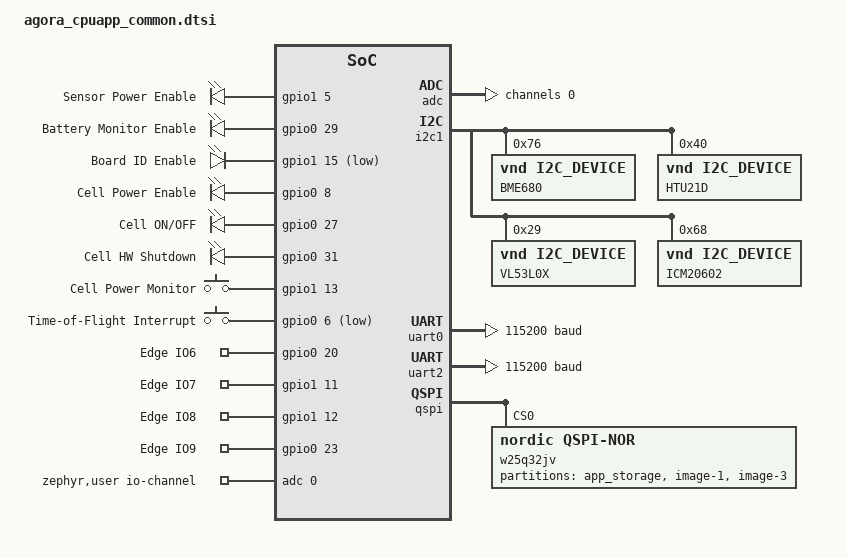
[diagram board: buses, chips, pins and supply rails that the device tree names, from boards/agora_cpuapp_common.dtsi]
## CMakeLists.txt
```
cmake_minimum_required(VERSION 3.20.0)
find_package(Zephyr REQUIRED HINTS $ENV{ZEPHYR_BASE})
project(epSDK_Agora53)

# Define the nested Bosch BSEC static library as an imported target
add_library(bosch_bsec STATIC IMPORTED GLOBAL)

# Tell CMake exactly where to find the libbsec.a file
# (Update this path to point to the Cortex-M4 or M33 version of libbsec.a inside your directory)
set_target_properties(bosch_bsec PROPERTIES
    IMPORTED_LOCATION "${CMAKE_CURRENT_SOURCE_DIR}/epSDK/library/libalgobsec.a"
)

# Define epSDK library as an imported global target
add_library(epSDK_lib STATIC IMPORTED GLOBAL)

# Tell CMake where the actual static .a file resides
set_target_properties(epSDK_lib PROPERTIES
    IMPORTED_LOCATION "${CMAKE_CURRENT_SOURCE_DIR}/epSDK/library/libepSDKZephyr.a"
)

target_include_directories(epSDK_lib INTERFACE 
    "${CMAKE_CURRENT_SOURCE_DIR}/epSDK/include"
)

# Bind library to the Zephyr interface and cryptographic system
# This gives static library visibility into nrf's source hooks and headers.
target_link_libraries(epSDK_lib INTERFACE zephyr_interface)

# Link the BSEC library to your custom library target
target_link_libraries(epSDK_lib INTERFACE bosch_bsec)

# Force the ZEPHYROS macro definition to pass down to anything reading epSDK headers
target_compile_definitions(app PUBLIC ZEPHYROS)

# Add source locations
target_sources(app PRIVATE
    src/main.c
    src/sensor_task.c
    src/cellularTask.c
)

# Add header locations
target_include_directories(app PRIVATE
    src
    epSDK/include
)

# Link static libraries
target_link_libraries(app PUBLIC epSDK_lib)
```

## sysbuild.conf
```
SB_CONFIG_BOOTLOADER_MCUBOOT=y

# Build and flash the BLE HCI controller image to the network core
SB_CONFIG_NETCORE_IPC_RADIO=y
SB_CONFIG_NETCORE_IPC_RADIO_BT_HCI_IPC=y

# Add B0n image (bootloader for netcore)
SB_CONFIG_SECURE_BOOT_NETCORE=y

# # Set up multiple partitions for simultanious app and net core updating
SB_CONFIG_MCUBOOT_UPDATEABLE_IMAGES=2
SB_CONFIG_MCUBOOT_NRF53_MULTI_IMAGE_UPDATE=y

# # Enable support for netcore DFU
SB_CONFIG_NETCORE_APP_UPDATE=y

# # Simultaneous FOTA does not support rollback ("test" feature)
SB_CONFIG_MCUBOOT_MODE_OVERWRITE_ONLY=y

# Build merged hex images for both cores
SB_CONFIG_MERGED_HEX_FILES=y
```

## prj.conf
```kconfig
CONFIG_NCS_SAMPLES_DEFAULTS=y
CONFIG_MAIN_STACK_SIZE=8192
CONFIG_SYSTEM_WORKQUEUE_STACK_SIZE=8192
CONFIG_NORDIC_QSPI_NOR=y
CONFIG_LOG=y
CONFIG_LOG_MODE_MINIMAL=y
CONFIG_I2C=y
CONFIG_CBPRINTF_FP_SUPPORT=y
CONFIG_FPU=y
CONFIG_FP_HARDABI=y
CONFIG_MULTITHREADING=y
CONFIG_SPI=y

#Enable FOTA BLE service in the application
CONFIG_NCS_SAMPLE_MCUMGR_BT_OTA_DFU=y
CONFIG_BT=y
CONFIG_BT_PERIPHERAL=y
CONFIG_BT_DEVICE_NAME="AGORA53"

# Enable uart driver
CONFIG_SERIAL=y

# Enable ADC
CONFIG_ADC=y

# enable console
CONFIG_CONSOLE=y
CONFIG_UART_CONSOLE=y

CONFIG_TICKLESS_KERNEL=y

# Choose either Asynchronous (DMA-driven, highly efficient) or Interrupt-driven UART
CONFIG_UART_INTERRUPT_DRIVEN=y

# Enable Zephyr's AT command parsing pipeline
CONFIG_MODEM_MODULES=y
CONFIG_MODEM_PIPE=y
CONFIG_MODEM_CHAT=y
CONFIG_MODEM_BACKEND_UART=y
CONFIG_MODEM_LOG_LEVEL_DBG=y
CONFIG_MODEM_MODULES_LOG_LEVEL_DBG=y

# Enable the Zephyr generic regulator driver framework
CONFIG_REGULATOR=y

# Use power management
CONFIG_PM=y
CONFIG_PM_DEVICE=y
CONFIG_PM_DEVICE_RUNTIME=y

# Enable the External Crystal (LFXO) selection
CONFIG_CLOCK_CONTROL_NRF_K32SRC_XTAL=y
CONFIG_CLOCK_CONTROL_NRF_K32SRC_RC=n
CONFIG_CLOCK_CONTROL_NRF_K32SRC_RC_CALIBRATION=n
```

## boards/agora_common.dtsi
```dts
/ {
	leds {
		compatible = "gpio-leds";
		led0: led_0 {
			gpios = <&gpio0 26 GPIO_ACTIVE_HIGH>;
			label = "Green LED 0";
		};
		led1: led_1 {
			gpios = <&gpio0 21 GPIO_ACTIVE_HIGH>;
			label = "Red LED 1";
		};
		led2: led_2 {
			gpios = <&gpio1 6 GPIO_ACTIVE_HIGH>;
			label = "Blu LED 2";
		};
	};

	/* These aliases are provided for compatibility with samples */
	aliases {
		led0 = &led0;
		led1 = &led1;
		led2 = &led2;
	};
};
```

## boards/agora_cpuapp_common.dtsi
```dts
#include "agora_common.dtsi"
#include "agora_cpuapp_pinctrl.dtsi"
#include <zephyr/dt-bindings/input/input-event-codes.h>

/ {

	chosen {
		zephyr,console = &uart0;
		zephyr,shell-uart = &uart0;
		zephyr,uart-mcumgr = &uart0;
		nordic,pm-ext-flash = &w25q32jv;
		zephyr,bt-mon-uart = &uart0;
		zephyr,bt-c2h-uart = &uart0;
		zephyr,bt-hci = &bt_hci_ipc0;
		nordic,802154-spinel-ipc = &ipc0;
	};

	brd_gpio_out {
		compatible = "gpio-leds";
		sensor_pwr_en: sensor_pwr_en {
			gpios = <&gpio1 5 GPIO_ACTIVE_HIGH>;
			label = "Sensor Power Enable";
		};

		bat_mon_en: bat_mon_en {
			gpios = <&gpio0 29 GPIO_ACTIVE_HIGH>;
			label = "Battery Monitor Enable";
		};

		board_id_en: board_id_en {
			gpios = <&gpio1 15 GPIO_ACTIVE_LOW>;
			label = "Board ID Enable";
		};

		cell_pwr_en: cell_pwr_en {
			gpios = <&gpio0 8 GPIO_ACTIVE_HIGH>;
			label = "Cell Power Enable";
		};

		cell_on_off: cell_on_off {
			gpios = <&gpio0 27 GPIO_ACTIVE_HIGH>;
			label = "Cell ON/OFF";
		};

		cell_hw_shutdown: cell_hw_shutdown {
			gpios = <&gpio0 31 GPIO_ACTIVE_HIGH>;
			label = "Cell HW Shutdown";
		};
	};

	brd_gpio_in {
		compatible = "gpio-keys";
		cell_pwr_mon: cell_pwr_mon {
			gpios = <&gpio1 13 (GPIO_PULL_DOWN | GPIO_ACTIVE_HIGH)>;
			label = "Cell Power Monitor";
		};

		int_tof: int_tof {
			gpios = <&gpio0 6 GPIO_ACTIVE_LOW >;
			label = "Time-of-Flight Interrupt";
		};

		te_gpio6: te_gpio6 {
			gpios = <&gpio0 20 (GPIO_PULL_DOWN | GPIO_ACTIVE_HIGH) >;
			label = "Edge IO6";
		};

		te_gpio7: te_gpio7 {
			gpios = <&gpio1 11 (GPIO_PULL_DOWN | GPIO_ACTIVE_HIGH) >;
			label = "Edge IO7";
		};

		te_gpio8: te_gpio8 {
			gpios = <&gpio1 12 (GPIO_PULL_DOWN | GPIO_ACTIVE_HIGH) >;
			label = "Edge IO8";
		};

		te_gpio9: te_gpio9 {
			gpios = <&gpio0 23 (GPIO_PULL_DOWN | GPIO_ACTIVE_HIGH) >;
			label = "Edge IO9";
		};
	};

};

&adc {
	status = "okay";
	#address-cells = <1>;
	#size-cells = <0>;

	channel@0 {
		reg = <0>;
		zephyr,gain = "ADC_GAIN_1_6";
		zephyr,reference = "ADC_REF_INTERNAL";
		zephyr,acquisition-time = <ADC_ACQ_TIME_DEFAULT>;
		zephyr,input-positive = <NRF_SAADC_AIN0>;
		zephyr,resolution = <12>;
	};
};

&gpiote {
	status = "okay";
};

&gpio0 {
	status = "okay";
};

&gpio1 {
	status = "okay";

	/*sensor_pwr_en_hog {
		gpio-hog;
		gpios = <5 GPIO_ACTIVE_HIGH>;
		output-high;
	};*/
};

&i2c1 {
	compatible = "nordic,nrf-twim";
	status = "okay";
	pinctrl-0 = <&i2c1_default>;
	pinctrl-1 = <&i2c1_sleep>;
	pinctrl-names = "default", "sleep";

	bme680: bme680@76 {
		compatible = "vnd,i2c_device";
		label = "BME680";
		status = "okay";
		reg = <0x76>;
	};

	htu21d: htu21d@40 {
		compatible = "vnd,i2c_device";
		label = "HTU21D";
		status = "okay";
		reg = <0x40>;
	};

	vl53l0x: vl53l0x@29 {
		compatible = "vnd,i2c_device";
		label = "VL53L0X";
		status = "okay";
		reg = <0x29>;
	};

	icm20602: icm20602@68 {
		compatible = "vnd,i2c_device";
		label = "ICM20602";
		status = "okay";
		reg = <0x68>;
	};
};

&uart0 {
	status = "okay";
	current-speed = <115200>;
	pinctrl-0 = <&uart0_default>;
	pinctrl-1 = <&uart0_sleep>;
	pinctrl-names = "default", "sleep";
};

&uart2 {
	status = "okay";
	current-speed = <115200>;
	pinctrl-0 = <&uart2_default>;
	pinctrl-1 = <&uart2_sleep>;
	pinctrl-names = "default", "sleep";
};

&flash0 {
	partitions {
		compatible = "fixed-partitions";
		#address-cells = <1>;
		#size-cells = <1>;

		boot_partition: partition@0 {
			label = "mcuboot";
			reg = <0x00000000 DT_SIZE_K(48)>;
		};

		/* slot0 / MCUboot primary slot*/
		slot0_partition: partition@c000 {
			label = "image-0";
			reg = <0x0000c000 DT_SIZE_K(900)>;
		};

		/* slot1 / MCUboot secondary is in external QSPI flash (see below) */
	};
};

&qspi {
	status = "okay";
	pinctrl-0 = <&qspi_default>;
	pinctrl-1 = <&qspi_sleep>;
	pinctrl-names = "default", "sleep";

	w25q32jv: w25q32jv@0 {
		compatible = "nordic,qspi-nor";
		reg = <0>;
		writeoc = "pp4o";
		readoc = "read4o";
		sck-frequency = <8000000>;
		jedec-id = [ef 40 16];
		size = <33554432>;
		/* ========================================================= */
		/* ADD LOW POWER PROPERTIES DIRECTLY INSIDE THE CHILD CHIP BLOCK */
		/* ========================================================= */
		has-dpd;              /* Enables Deep Power-Down command handling (0xB9) */
		t-enter-dpd = <3000>; /* Winbond W25Q32JV max duration to enter DPD (3000ns) */
		t-exit-dpd = <3000>;  /* Winbond W25Q32JV max duration to exit DPD (3000ns) */

		partitions {
			compatible = "fixed-partitions";
			#address-cells = <1>;
			#size-cells = <1>;

			app_storage_parition: partition@0 {
				label = "app_storage";
				reg = <0x0 0x2cc000>;
			};

			/* slot1 / MCUboot secondary slot */
			slot1_partition: partition@2cc000 {
				label = "image-1";
				reg = <0x002cc000 DT_SIZE_K(900)>;
			};

			/* Net core secondary slot for multi-image DFU */
			slot3_partition: partition@3c0000 {
				label = "image-3";
				reg = <0x3c0000 0x40000>;
			};
		};
	};
};

/ {
	zephyr,user {
		io-channels = <&adc 0>;
	};
};

/* Include default memory partition configuration file */
#include "agora_cpuapp_partitioning.dtsi"
```

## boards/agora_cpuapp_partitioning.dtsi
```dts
/*
 * Default Flash planning for Application MCU.
 *
 * Zephyr build for nRF5340 with ARM TrustZone-M support, implies building
 * Secure and Non-Secure Zephyr images.
 *
 * Secure image will be placed, by default, in flash0 (or in slot0, if MCUboot
 * is present). Secure image will use sram0 for system memory.
 *
 * Non-Secure image will be placed in slot0_ns, and use sram0_ns for system
 * memory.
 *
 * Note that the Secure image only requires knowledge of the beginning of the
 * Non-Secure image (not its size).
 */

/* Default SRAM planning when building for nRF5340 with ARM TrustZone-M support
 * - Lowest 256 kB SRAM allocated to Secure image (sram0_s)
 * - Middle 192 kB allocated to Non-Secure image (sram0_ns)
 * - Upper 64 kB SRAM allocated as Shared memory (sram0_shared)
 *   (see {board}_shared_sram.dtsi)
 */
/ {
	reserved-memory {
		#address-cells = <1>;
		#size-cells = <1>;
		ranges;

		/* Zephyr image(s) memory */
		sram0_image: image@20000000 {
			reg = <0x20000000 DT_SIZE_K(448)>;
		};

		/* Secure image memory */
		sram0_s: image_s@20000000 {
			reg = <0x20000000 DT_SIZE_K(256)>;
		};

		/* Non-Secure image memory */
		sram0_ns: image_ns@20040000 {
			reg = <0x20040000 DT_SIZE_K(256)>;
		};

		/* Non-Secure image memory */
		sram0_ns_app: image_ns_app@20040000 {

			reg = <0x20040000 DT_SIZE_K(192)>;
		};

		/* Used by MCUboot when SB_CONFIG_MCUBOOT_NRF53_MULTI_IMAGE_UPDATE is enabled, so the
		 * RAM-backed netcore staging buffer doesn't collide with MCUboot's
		 * own RAM usage. See nrf/modules/mcuboot/flash_sim.overlay.
		 */
		sram0_offset_for_dfu: image_offset_for_dfu@20002000 {
			reg = <0x20002000 DT_SIZE_K(440)>;
		};
	};
};
```

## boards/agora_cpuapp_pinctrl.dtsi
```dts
&pinctrl {
	uart0_default: uart0_default {
		group1 {
			psels = <NRF_PSEL(UART_TX, 0, 30)>;
		};
		group2 {
			psels = <NRF_PSEL(UART_RX, 0, 28)>;
			bias-pull-up;
		};
	};

	uart0_sleep: uart0_sleep {
		group1 {
			psels = <NRF_PSEL(UART_TX, 0, 30)>,
				<NRF_PSEL(UART_RX, 0, 28)>;
			low-power-enable;
		};
	};

	uart2_default: uart2_default {
		group1 {
			psels = <NRF_PSEL(UART_TX, 1, 10)>;
		};
		group2 {
			psels = <NRF_PSEL(UART_RX, 0, 22)>;
		};
	};

	uart2_sleep: uart2_sleep {
		group1 {
			psels = <NRF_PSEL(UART_TX, 1, 10)>,
				<NRF_PSEL(UART_RX, 0, 22)>;
			low-power-enable;
		};
	};

	i2c1_default: i2c1_default {
		group1 {
			psels = <NRF_PSEL(TWIM_SDA, 1, 2)>,
				<NRF_PSEL(TWIM_SCL, 1, 3)>;
		};
	};

	i2c1_sleep: i2c1_sleep {
		group1 {
			psels = <NRF_PSEL(TWIM_SDA, 1, 2)>,
				<NRF_PSEL(TWIM_SCL, 1, 3)>;
			low-power-enable;
		};
	};

	qspi_default: qspi_default {
		group1 {
			psels = <NRF_PSEL(QSPI_SCK, 0, 17)>,
				<NRF_PSEL(QSPI_IO0, 0, 13)>,
				<NRF_PSEL(QSPI_IO1, 0, 14)>,
				<NRF_PSEL(QSPI_IO2, 0, 15)>,
				<NRF_PSEL(QSPI_IO3, 0, 16)>,
				<NRF_PSEL(QSPI_CSN, 0, 18)>;
			//nordic,drive-mode = <NRF_DRIVE_H0H1>;
		};
	};

	qspi_sleep: qspi_sleep {
		group1 {
			psels = <NRF_PSEL(QSPI_SCK, 0, 17)>,
				<NRF_PSEL(QSPI_IO0, 0, 13)>,
				<NRF_PSEL(QSPI_IO1, 0, 14)>,
				<NRF_PSEL(QSPI_IO2, 0, 15)>,
				<NRF_PSEL(QSPI_IO3, 0, 16)>;
			low-power-enable;
		};
		group2 {
			psels = <NRF_PSEL(QSPI_CSN, 0, 18)>;
			bias-pull-up;
		};
	};
};
```

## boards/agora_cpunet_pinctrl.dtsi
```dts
&pinctrl {
	uart0_default: uart0_default {
		group1 {
			psels = <NRF_PSEL(UART_TX, 0, 30)>;
		};
		group2 {
			psels = <NRF_PSEL(UART_RX, 0, 28)>;
			bias-pull-up;
		};
	};

	uart0_sleep: uart0_sleep {
		group1 {
			psels = <NRF_PSEL(UART_TX, 0, 30)>,
				<NRF_PSEL(UART_RX, 0, 28)>;
			low-power-enable;
		};
	};

	i2c1_default: i2c1_default {
		group1 {
			psels = <NRF_PSEL(TWIM_SDA, 1, 2)>,
				<NRF_PSEL(TWIM_SCL, 1, 3)>;
		};
	};

	i2c1_sleep: i2c1_sleep {
		group1 {
			psels = <NRF_PSEL(TWIM_SDA, 1, 2)>,
				<NRF_PSEL(TWIM_SCL, 1, 3)>;
			low-power-enable;
		};
	};

	spi4_default: spi4_default {
		group1 {
			psels = <NRF_PSEL(SPIM_SCK, 1, 0)>,
				<NRF_PSEL(SPIM_MISO, 0, 10)>,
				<NRF_PSEL(SPIM_MOSI, 0, 9)>;
		};
	};

	spi4_sleep: spi4_sleep {
		group1 {
			psels = <NRF_PSEL(SPIM_SCK, 1, 0)>,
				<NRF_PSEL(SPIM_MISO, 0, 10)>,
				<NRF_PSEL(SPIM_MOSI, 0, 9)>;
			low-power-enable;
		};
	};
};
```

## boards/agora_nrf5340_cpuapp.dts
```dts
/dts-v1/;
#include <arm/nordic/nrf5340_cpuapp_qkaa.dtsi>
#include "agora_cpuapp_common.dtsi"

/ {
	model = "Agora (cpuapp)";
	compatible = "ep,agora-cpuapp";

	chosen {
		zephyr,flash = &flash0;
		zephyr,code-partition = &slot0_partition;
		zephyr,sram = &sram0_image;
		zephyr,sram-secure-partition = &sram0_s;
		zephyr,sram-non-secure-partition = &sram0_ns;
	};
};

#include "agora_shared_sram.dtsi"
```

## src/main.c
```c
/****************************************************************************                                                                     *
 * Copyright (c) 2026 Embedded Planet, Inc.                                 *
 * SPDX-License-Identifier: Apache-2.0                                      *
 *                                                                          *
 * Licensed under the Apache License, Version 2.0 (the "License");          *
 * you may not use this file except in compliance with the License.         *
 * You may obtain a copy of the License at                                  *
 *                                                                          *
 *     http://www.apache.org/licenses/LICENSE-2.0                           *
 *                                                                          *
 * Unless required by applicable law or agreed to in writing, software      *
 * distributed under the License is distributed on an "AS IS" BASIS,        *
 * WITHOUT WARRANTIES OR CONDITIONS OF ANY KIND, either express or implied. *
 * See the License for the specific language governing permissions and      *
 * limitations under the License.                                           *
 ****************************************************************************/
/**
 * @file    main.c
 * @version See Version in main.h VER defines
 * @author  Embedded Planet, Inc.
 * @author  golobmichael, danmaher
 * @date    20 AUG 2026
 * 
 * @brief Agora53 Standalone main header
 * 
 * Built for use with the nRF Connect SDK
 *
 * This source file is private and confidential.
 * Unauthorized copying of this file is strictly prohibited.
 * 
 * Version 1.0 - 20AUG2026  Initial
 */

//Zephyr includes
#include <zephyr/kernel.h>

#include "main.h"
#include "cellularTask.h"
#include "agora53_bsp.h"
#include "ble_peripheral.h"
#include "led_helper.h"

#define STACK_SIZE 4096
#define THREAD0_PRIORITY 7
#define ADV_TIMEOUT     60      // 60s

// Define buffer and message queue variables for cell
char cell_queue_buffer[CELL_QUEUE_SIZE * sizeof(cell_queue_msg)];
K_MSGQ_DEFINE(xCellQueue, sizeof(cell_queue_msg), CELL_QUEUE_SIZE, 4);

/* Forward declaration of the thread function */
void cellular_task(void);
void LEDTask(void);

/* Define and initialize the thread statically */
K_THREAD_DEFINE(thread0_id, STACK_SIZE, cellular_task, NULL, NULL, NULL, THREAD0_PRIORITY, 0, SYS_FOREVER_MS);
K_THREAD_DEFINE(thread1_id, STACK_SIZE, sensor_task, NULL, NULL, NULL, THREAD0_PRIORITY, 0, SYS_FOREVER_MS);

int main(void)
{
    if(agora53_bsp_init() < 0){
        return -1;
    }

    miscInitialization();

    ble_periph_init();
    ble_periph_adv_start(ADV_TIMEOUT);

    /* Start sensor sample task */
    k_thread_start(thread1_id);
    /* Start Cell Task */
    k_thread_start(thread0_id);
}
```

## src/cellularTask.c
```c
/**
 * Created on: Sept 1, 2022
 * Created by: golobmichael
 * 
 * Copyright (c) Embedded Planet, Inc - All rights reserved
 *
 * This source file is private and confidential.
 * Unauthorized copying of this file is strictly prohibited.
 * 
 * Version 1.0 - 01SEPT22  Initial, golobmichael
 */

#include <stdint.h>
#include <stdbool.h>
#include <inttypes.h>
#include <string.h>
#include <stdlib.h>

#include <zephyr/kernel.h>
#include <zephyr/logging/log.h>
#include "main.h"
#include "cellularTask.h"
#include "led_helper.h"

// Enable logging for app task
LOG_MODULE_REGISTER(CELL_TASK, LOG_LEVEL_INF);

#define LED_THREAD_PRIORITY     7
#define LED_THREAD_STACK_SIZE   1024
K_THREAD_DEFINE(led_task_id, LED_THREAD_STACK_SIZE, LEDTask, NULL, NULL, NULL, LED_THREAD_PRIORITY, 0, SYS_FOREVER_MS);

cellParam cellParams;
CellRegStatus_t regStatusFlag;
CellStatus_t cellStatus;

/*-----------------------------------------------------------*/
void cellular_task(void)
{
    #define REG_TIMEOUT      900    // 900s
    bool retCellular = false;
    static bool first_run = true;
    uint32_t lastGnssTime = 0, lastGtpTime = 0, sasTokenTimer = 0, currentTime = 0;
    bool fotaAvailable = false;
    int32_t httpsRespSize = 0;
    uint8_t *httpsRespBody;

    /* Start and suspend LED task */
    led_init();
    k_thread_start(led_task_id);
    k_thread_suspend(led_task_id);
    /* pause LEDs */
    led_pause();

    while(1){
        uint8_t satellites = 0;
        static uint8_t gnssFix = 0;
        cellStatus = CellGeneralFail;
        
        /* Wait for item in queue */
        if(newDataAdded == true){
            // Enable LEDs
            led_resume();
            /* Flash LED */
            k_thread_resume(led_task_id);

            /* Clear flag */
            newDataAdded = false;

            /* Initialize cell library and startup modem hardware, don't need to call on first run */
            if( cellInit() != 0 ){
                LOG_ERR("Failed to initialize cell, delay and retry\r\n");
                closeCell(MODEM_SLEEP_STATE);
                k_sleep(K_MSEC(5000));
                continue;
            }

            /* Get current time */
            currentTime = k_uptime_get();

            /* Is it time to attain GNSS fix, will run on second pass */
            if(TELIT_GNSS_STATUS == true && (currentTime - lastGnssTime) > GNSS_ATTEMPT_INTERVAL){
                if( setGNSS(true) != 0 ){
                    LOG_ERR("Failed to enable GNSS, delay and retry\r\n");
                    closeCell(MODEM_SLEEP_STATE);
                    k_sleep(K_MSEC(5000));
                    continue;
                }

                /* Check registration status, advance when registered or timeout */
                for(uint16_t i = 0; i < GNSS_TIMEOUT; i++){
                    gnssFix = statusGNSS(&satellites);
                    if(gnssFix >= 2){
                        /* App callback to add GNSS fix if desired */
                        addGnssQueueMsg(true);
                        break;
                    }
                    /* Not enough satellites aquired after a specified amount of time, break loop */
                    if(LOW_SAT_STATUS == true && satellites < LOW_SAT_NUMBER && i == LOW_SAT_TIMEOUT){
                        LOG_WRN( ">>>  GNSS aquire satellite timeout  <<<\r\n" );
                        break;
                    }
                    k_sleep(K_MSEC(10000));
                }

                /* If fix failed, then add to queue*/
                if(gnssFix < 2){
                    /* App callback to add GNSS fix if desired */
                    addGnssQueueMsg(false);
                }

                /* Return back to cell comms */
                setGNSS(false);

                /* Update last gnss time */
                lastGnssTime = k_uptime_get();
            }

            /* Clear flag */
            first_run = false;

            /* Enable eDRX and register cell */
            if( registerCellular(CELLULAR_CARRIER, REG_TIMEOUT) != 0 ){
                LOG_ERR("Failed to start cell registration process, delay and retry\r\n");
                closeCell(MODEM_SLEEP_STATE);
                k_sleep(K_MSEC(5000));
                continue;
            }

            /* Check registration status */
            regStatusFlag = regStatus();
            if(regStatusFlag != REG_STATUS_REGISTERED_HOME && regStatusFlag != REG_STATUS_ROAMING_REGISTERED){
                /* Wait 10s and check again */
                k_sleep(K_MSEC(10000));
                regStatusFlag = regStatus();
                if(regStatusFlag != REG_STATUS_REGISTERED_HOME && regStatusFlag != REG_STATUS_ROAMING_REGISTERED){
                    LOG_ERR("Failed to register to cell network, delay and retry\r\n");
                    cellStatus = CellRegisterFail;
                    closeCell(MODEM_SLEEP_STATE);
                    k_sleep(K_MSEC(5000));
                    continue;
                }
            }

            /* Is it time to attain GTP fix, will run on second pass */
            if(GTP_STATUS == true && (currentTime - lastGtpTime) > GNSS_ATTEMPT_INTERVAL){
                if(connectCell(IOT_BROKER_ADDRESS_POST, GTP_STATUS) != cellStatus){
                    LOG_ERR("Failed to connect to cell socket, delay and retry\r\n");
                    closeCell(MODEM_SLEEP_STATE);
                    k_sleep(K_MSEC(5000));
                    continue;
                }
                
                /* Update last gnss time */
                lastGtpTime = k_uptime_get();
            }
            else{
                if(connectCell(IOT_BROKER_ADDRESS_POST, false) != cellStatus){
                    LOG_ERR("Failed to connect to cell socket, delay and retry\r\n");
                    closeCell(MODEM_SLEEP_STATE);
                    k_sleep(K_MSEC(5000));
                    continue;
                }
            }
            
            
            if(strstr( IOT_BROKER_ADDRESS_GET, "http://" ) != NULL){
                /* Send HTTP Post (without TLS) */
                sendHttpMsg(METHOD_GET, IOT_BROKER_ADDRESS_GET, SERVER_ADDR_PREFIX_GET, SERVER_ADDR_SUFFIX_ATTR, SERVER_PATH_ACCESS_TOKEN_GET_ENABLED, &fotaAvailable);
            }

            /* Check registration status */
            regStatusFlag = regStatus();
            if(regStatusFlag != REG_STATUS_REGISTERED_HOME && regStatusFlag != REG_STATUS_ROAMING_REGISTERED){
                /* Wait 10s and check again */
                k_sleep(K_MSEC(10000));
                regStatusFlag = regStatus();
                if(regStatusFlag != REG_STATUS_REGISTERED_HOME && regStatusFlag != REG_STATUS_ROAMING_REGISTERED){
                    LOG_ERR("Failed to register to cell network, delay and retry\r\n");
                    cellStatus = CellRegisterFail;
                    closeCell(MODEM_SLEEP_STATE);
                    k_sleep(K_MSEC(5000));
                    continue;
                }
            }

            /* Clear flag again in case new data has arrived */
            newDataAdded = false;

            if(k_msgq_num_used_get(&xCellQueue) != 0){
                if(strstr( IOT_BROKER_ADDRESS_POST, "http://" ) != NULL){
                    /* Send HTTP Post (without TLS) */
                    sendHttpMsg(METHOD_POST, IOT_BROKER_ADDRESS_POST, SERVER_ADDR_PREFIX_POST, SERVER_ADDR_SUFFIX_TELE, SERVER_PATH_ACCESS_TOKEN_POST_ENABLED, NULL);
                }
            }

            closeCell(MODEM_SLEEP_STATE);

            k_thread_suspend(led_task_id);
            // Enable debug out for LED
            led_pause();
        }
        /* Delay between checking queue*/
        k_sleep(K_MSEC(5000));
    }
}

/*-----------------------------------------------------------*/
void LEDTask( void )
{
    for(;;)
    {
        if(regStatusFlag == REG_STATUS_REGISTERED_HOME || regStatusFlag == REG_STATUS_ROAMING_REGISTERED)
        {
            led_mode(LED_SINGLE_BLINK, true, 1);
        }
        else
        {
            led_mode(LED_TRIPLE_BLINK, true, 1);
        }

        k_sleep(K_MSEC(5000));
    }
}
```

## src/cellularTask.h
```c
/****************************************************************************                                                                     *
 * Copyright (c) 2026 Embedded Planet, Inc.                                 *
 * SPDX-License-Identifier: Apache-2.0                                      *
 *                                                                          *
 * Licensed under the Apache License, Version 2.0 (the "License");          *
 * you may not use this file except in compliance with the License.         *
 * You may obtain a copy of the License at                                  *
 *                                                                          *
 *     http://www.apache.org/licenses/LICENSE-2.0                           *
 *                                                                          *
 * Unless required by applicable law or agreed to in writing, software      *
 * distributed under the License is distributed on an "AS IS" BASIS,        *
 * WITHOUT WARRANTIES OR CONDITIONS OF ANY KIND, either express or implied. *
 * See the License for the specific language governing permissions and      *
 * limitations under the License.                                           *
 ****************************************************************************/

/**
 * @file    cell_helper.h
 * @version 1.0.0
 * @author  Embedded Planet, Inc.
 * @author  golobmichael
 * @date    01 SEPT 2022
 * 
 * @brief Header for cellular library APIs and configurations.
 * versions:
 *  1.0.0 - 28SEPT2023  Initial - golobmichael
 * 
 */

/**
 * @file cell_helper.h
 */

#ifndef __CELL_HELPER_H__
#define __CELL_HELPER_H__

/* *INDENT-OFF* */
#ifdef __cplusplus
    extern "C" {
#endif
/* *INDENT-ON* */

/* Standard includes. */
#include <stdint.h>

/**
 * @brief Internal EP operation
 * 
 */
#define CELL_SKIP_SECURITY_CHECK

/**
 * @brief Define for size of descriptor table
 * 
 */
#define otapalDESCRIPTOR_SIZE           sizeof( ImageDescriptor_t )     /* The size of the firmware descriptor */

/**
 * @brief MQTT Max Topic Length.
 * 
 */
#define MQTT_MAX_TOPIC_LENGTH    250U

/**
 * @brief Maximum length of the data packet allowed in a cell queue message
 *  EPCP_SYSTEM_SIZE        = 19,
    EPCP_SYSTEM_V2_SIZE     = 9,
    EPCP_CELL_SIZE          = 10,
    EPCP_GNSS_SIZE          = 7,
    EPCP_SI7021_SIZE        = 6,
    EPCP_BME680_SIZE        = 25,
    EPCP_ICM20602_SIZE      = 14,
    EPCP_LSM9DS1_SIZE       = 21,
    EPCP_VL53L0X_SIZE       = 6,
    TOTOAL                  = 130, with 13 bytes overhead
 */
#define CELLULAR_QUEUE_MSG_MAX_LENGTH   130U

/**
 * @brief Cell carrier defines
 * 
 */
#define ATT     0
#define VERIZON 1
#define ROW     2
#define AU      3
#define AUTO    0xFF // ME310G1 and ME910G1 support auto detect

/**
 * @brief Cell technology defines
 * 
 */
#define CELLULAR_IOT_CATM1      0   // CAT-M1 Only
#define CELLULAR_IOT_NBIOT      1   // NB-IoT only
#define CELLULAR_IOT_CATM1_PREF 2   // CAT-M1 preferred over NB-IoT
#define CELLULAR_IOT_NBIOT_PREF 3   // NB-IOT preferred over Cat-M1
#define CELLULAR_IOT_NBIOT_NTN  4   // NB-IoT NTN

/**
 * @brief FOTA Checksum defines
 * 
 */
#define SUM_ALL         0
#define CRC32_CHKSM     1

/**
 * @brief Size of buffer that holds downlink (shared) attribute string
 */
#define HTTP_ATTR_BUFF_SIZE         1024

/**
 * @brief Define number of HTTP Attributes needed
 * 
 */
#define num_HTTP_ATTRIBUTES             5

/**
 * @brief Max attribute length for cell http get
 * 
 */
#define MAX_ATTR_VALUE_LENGTH     10

/**
 * @brief IMEI max size.<br>
 *
 */
#define CELLULAR_IMEI_MAX_SIZE    15U

/**
 * @brief Integrate circuit card identity max size.<br>
 * 
 */
#define CELLULAR_ICCID_MAX_SIZE    20U

/**
 * @brief Threshold for transmission interval to power off cell versus just shutdown socket
 * 
 */
#define CELL_PWR_OFF_THRESH     300U    // 300s

/**
 * @brief Max GNSS Direction length.<br>
 *
 */
#define MAX_GNSS_LAT_LENGTH    10U

/**
 * @brief Max GNSS Direction length.<br>
 *
 */
#define MAX_GNSS_LONG_LENGTH    11U

/**
 * @brief Access point name max size.<br>
 *
 */
#define CELLULAR_APN_MAX_SIZE    ( 64U )

/**
 * @brief Payload format.<br>
 *
 */
#define PLAIN_TEXT_PAYLOAD      0 //Compact payload
#define JSON_PAYLOAD            1 //Json format payload

/**
 * @brief Endpoint address max size
 * 
 */
#define ENDPOINT_ADDR_MAX_SIZE ( 75U )

/**
 * @brief HTTP/CoAP Method defines
 * 
 */
 #define METHOD_POST    0
 #define METHOD_GET     1

/**
 * @brief Cellular carrier, ATT, Verizon, AU, or Auto. Only need for Agora 1.0
 * 
 */
#define CELLULAR_CARRIER    AUTO

/**
 * @brief TLS Security defined
 * 
 */
#define TLS_ANONYMOUS   0
#define TLS_SAS_TOKENS  1
#define TLS_X509        2

/**
 * @brief Cell shutdown state between data passes
 * 
 */
#define SOCKET_OPEN         0
#define MODEM_ON            1
#define MODEM_OFF           2

/**
 * @brief Protocol defined needed for cell library
 * 
 */
#define PROTOCOL_HTTPS                             0
#define PROTOCOL_MQTTS                             1

/**
 * @ingroup cellular_datatypes_paramstructs
 * @brief SIM Card information.
 */
typedef struct CellularSimCardInfo
{
    char iccid[ CELLULAR_ICCID_MAX_SIZE + 1 ]; /**< Integrated Circuit Card Identifier aka SIM Card Number. */
    char imei[ CELLULAR_IMEI_MAX_SIZE + 1 ];   /**< International Mobile Subscriber Identity. */
} CellularSimCardInfo_t;

/**
 * @ingroup cellular_datatypes_paramstructs
 * @brief Represents signal information.
 */
typedef struct CellularSignalInfo
{
    int16_t rssi; /**< Received Signal Strength Indicator (RSSI) in dBm.*/
    int16_t rsrp; /**< LTE Reference Signal Received Power (RSRP) in dBm. */
    int16_t rsrq; /**< LTE Reference Signal Received Quality (RSRQ) in dB. */
    int16_t sinr; /**< LTE Signal to Interference-Noise Ratio in dB. */
    int16_t ber;  /**< Bit Error Rate (BER) in 0.01%. */
    uint8_t bars; /**< A number between 0 to 5 (both inclusive) indicating signal strength. */
} CellularSignalInfo_t;


/**
 * @ingroup cellular_datatypes_enums
 * @brief Represents PDN context type.
 */
typedef enum CellularPdnContextType
{
    CELLULAR_PDN_CONTEXT_IPV4 = 1,   /**< IPV4 PDN CONTEXT. */
    CELLULAR_PDN_CONTEXT_IPV6 = 2,   /**< IPV6 PDN CONTEXT. */
    CELLULAR_PDN_CONTEXT_IPV4V6 = 3, /**< IPV4V6 PDN CONTEXT. */
    CELLULAR_PDN_CONTEXT_TYPE_MAX    /**< The max number of supported PDN CONTEXT. */
} CellularPdnContextType_t;

/**
 * @ingroup cellular_datatypes_enums
 * @brief Represents PDN authentication type.
 */
typedef enum CellularPdnAuthType
{
    CELLULAR_PDN_AUTH_NONE = 0,   /**< No authentication. */
    CELLULAR_PDN_AUTH_PAP,        /**< Password Authentication Protocol (PAP). */
    CELLULAR_PDN_AUTH_CHAP,       /**< Challenge Handshake Authentication Protocol (CHAP). */
    CELLULAR_PDN_AUTH_PAP_OR_CHAP /**< PAP or CHAP. */
} CellularPdnAuthType_t;

/**
 * @brief FOTA variables.
 */
extern uint32_t otapalBlockSize;
extern uint8_t otapalChecksumMethod;
extern uint32_t otapalFlashStart;
extern uint32_t otapalDescTblStart;
extern uint32_t otapalBankSize;
extern char appVersion[9];

/**
 * @ingroup cell_enum_types
 * @brief The cell library return status.
 */
typedef enum CellStatus
{
    CellGeneralFail = 0,    /*!< @brief General Failure. */
    CellSuccess,            /*!< @brief Success, no errors. */
    CellInitFail,           /*!< @brief Initialization Library Failed, or modem Init failed. */
    CellSimFail,            /*!< @brief SIM failure. */
    CellRegisterFail,       /*!< @brief Failure to register to network during initialization. */
    CellSocketFail,         /*!< @brief Failed to configure and connect to socket. */
    CellLostService,        /*!< @brief Cell service lost during runtime. */
    CellFailToSend,         /*!< @brief Failed to send data. */
    CellFailToRec,          /*!< @brief Failed to receive data. */
    CellBusy                /*!< @brief Cell busy. */
} CellStatus_t;
extern CellStatus_t cellStatus;

/**
 * @ingroup cellular_datatypes_paramstructs
 * @brief Represents GNSS Info.
 */
typedef struct CellularGNSSInfo
{
    char longitude[MAX_GNSS_LONG_LENGTH+1];
    char latitude[MAX_GNSS_LAT_LENGTH+1];
    float long_float;
    float lat_float;
    uint8_t fix;
    uint8_t satellites;
    uint32_t epochSeconds;
}CellularGNSSInfo_t;

/**
 * @brief Structure for storing cell parameters
 * 
 */
typedef struct cellParam {
    char appVersion[9];                             /* Application version, shared with cell library */
    uint8_t technology;                             /* Cellular technology */
    uint8_t payloadFormat;                          /* Cell queue payload format */
    char rootCA1[2000];                             /* SSL root CA */
    char cert[2000];                                /* SSL certificate */
    char pvtKey[2000];                              /* SSL private key */
    char symmetricKey[500];                         /* SSL SaS Token */
    uint8_t checksumMethod;                         /* FOTA checksum method */
    uint32_t fotaFlashStart;                        /* FOTA flash address start */
    uint32_t fotaDescrTblStart;                     /* FOTA descriptor table start */
    uint32_t fotaBankSize;                          /* FOTA bank start */
    uint32_t cellPwrEnPin;                          /* Cellular power enable pin */
    uint32_t cellOnOffPin;                          /* Cellular On/Off pin */
    uint32_t cellRTSPin;                            /* Cellular RTS pin */
} cellParam;

/**
 * @brief Structure for storing cell diagnostics
 * 
 */
typedef struct cellDiag {
    int16_t rssi;                               /**< RSSI Value. */
    int16_t rsrq;                               /**< RSRQ Value. */
    char longitude[MAX_GNSS_LONG_LENGTH+1];     /**< GNSS longitude value, represented as string. */
    char latitude[MAX_GNSS_LAT_LENGTH+1];       /**< GNSS latitude value represented as a string. */
    float long_float;                           /**< GNSS longitude value, represented as a float. */
    float lat_float;                            /**< GNSS latitude value represented as a float. */
    uint8_t fix;                                /**< GNSS fix value. */
    uint32_t fixTime;                           /**< GNSS fix time in epoch seconds */
    uint8_t satellites;                         /**< GNSS number of satellites. */
    float gtpAccuracy;                          /**< GTP Accuracy of location. */
    float gtpLongFloat;                         /**< GTP Longitude of location. */
    float gtpLatFloat;                          /**< GTP Latitude of location. */
    char iccid[ CELLULAR_ICCID_MAX_SIZE + 1 ];  /**< SIM ICCID. */
    char imei[ CELLULAR_IMEI_MAX_SIZE + 1 ];    /**< Modem IMEI. */
} cellDiag;

/**
 * @brief Enum for OTA status flags
 * 
 */
typedef enum
{
    otapalIMAGE_FLAG_NEW = 0xFE,            /* If the application image is running for the first time and never executed before. */
    otapalIMAGE_FLAG_VALID = 0xFC,          /* The application image is marked valid and committed. */
    otapalIMAGE_FLAG_INVALID = 0xF8         /* The application image is marked invalid. */
} ImageFlags_t;

/**
 * @brief Structure for storing descriptor tables information
 * 
 */
typedef struct
{
    uint8_t usImageFlags;                        /* Image flags. */
    uint32_t ulImageStartAddress;                /* Starting address of the application image. */
    uint32_t ulImageSize;                        /* End address of the application image. */
    uint32_t ulHardwareID;                       /* 32 bit ID that can be generated unique for a particular platform. */
    uint32_t updateVersion;                      /* 32 bit ID for version number */
    uint32_t checksum;                           /* 32 bit checksum. */
} ImageDescriptor_t;

typedef enum CellRegStatus
{
    REG_STATUS_NOT_REGISTERED = 0,               /**< Not registered searching network registration status. */
    REG_STATUS_REGISTERED_HOME = 1,              /**< Registered home network registration status. */
    REG_STATUS_NOT_REGISTERED_SEARCHING = 2,     /**< Not registered searching network registration status. */
    REG_STATUS_REGISTRATION_DENIED = 3,          /**< Registration denied network registration status. */
    REG_STATUS_UNKNOWN = 4,                      /**< Unknown network registration status. */
    REG_STATUS_ROAMING_REGISTERED = 5,           /**< Roaming registered network registration status. */
    REG_STATUS_HOME_SMS_ONLY_REGISTERED = 6,     /**< Home SMS only registered network registration status. */
    REG_STATUS_SMS_ONLY_ROAMING_REGISTERED = 7,  /**< SMS only roaming registered network registration status. */
    REG_STATUS_ATTACHED_EMERG_SERVICES_ONLY = 8, /**< Attached emergency service only network registration status. */
    REG_STATUS_MAX                               /**< The max supported number for registration status. */
} CellRegStatus_t;

/**
 * @ingroup cellular_datatypes_enums
 * @brief SIM card lock state codes. Reference 3GPP TS 27.007 Enter PIN +CPIN.
 */
typedef enum CellularSimCardLockState
{
    CELLULAR_SIM_CARD_READY = 0,     /**< The cellular sim card in a lock state of ready. */
    CELLULAR_SIM_CARD_PIN,           /**< The cellular sim card in a lock state of pin(personal identification number). */
    CELLULAR_SIM_CARD_PUK,           /**< The cellular sim card in a lock state of puk(personal unlocking key). */
    CELLULAR_SIM_CARD_PIN2,          /**< The cellular sim card in a lock state of pin2. */
    CELLULAR_SIM_CARD_PUK2,          /**< The cellular sim card in a lock state of puk2. */
    CELLULAR_SIM_CARD_PH_NET_PIN,    /**< The cellular sim card in a lock state of ph-net pin. */
    CELLULAR_SIM_CARD_PH_NET_PUK,    /**< The cellular sim card in a lock state of ph-net puk. */
    CELLULAR_SIM_CARD_PH_NETSUB_PIN, /**< The cellular sim card in a lock state of ph-netsub pin. */
    CELLULAR_SIM_CARD_PH_NETSUB_PUK, /**< The cellular sim card in a lock state of ph-netsub puk. */
    CELLULAR_SIM_CARD_SP_PIN,        /**< The cellular sim card in a lock state of ph-sp pin. */
    CELLULAR_SIM_CARD_SP_PUK,        /**< The cellular sim card in a lock state of ph-sp puk. */
    CELLULAR_SIM_CARD_CORP_PIN,      /**< The cellular sim card in a lock state of ph-corp pin. */
    CELLULAR_SIM_CARD_CORP_PUK,      /**< The cellular sim card in a lock state of ph-sp puk. */
    CELLULAR_SIM_CARD_IMSI_PIN,      /**< The cellular sim card in a lock state of imsi pin. */
    CELLULAR_SIM_CARD_IMSI_PUK,      /**< The cellular sim card in a lock state of imsi puk. */
    CELLULAR_SIM_CARD_INVALID,       /**< The cellular sim card in a lock state of invalid. */
    CELLULAR_SIM_CARD_LOCK_UNKNOWN   /**< The cellular sim card in a lock state of unknown. */
} CellularSimCardLockState_t;

/**
 * @brief Used to send data from the main application through the cellular queue
 * 
 */
typedef struct{
    char        data[CELLULAR_QUEUE_MSG_MAX_LENGTH];    /** < Pointer to the JSON string */
    uint16_t    size;   /** < Size of the JSON string */
} cell_queue_msg;

extern struct k_msgq xCellQueue;

/**
 * @brief Function to register modem to cellular network. Will return when registered or timeout expires
 *
 * @param[in] cellCarrier Cell carrier.
 * @param[in] regTimeout Cell registration timeout.
 * 
 * @return enum return.
 */
extern int registerCellular( uint8_t cellCarrier, uint32_t regTimeout );

/**
 * @brief Function to check cell registration status
 * 
 * @return enum return.
 */
extern CellRegStatus_t regStatus( void );

/**
 * @brief Set GNSS operation
 *
 * @param[in] status Set GNSS status. True: GNSS enable, False: GNSS disable
 * 
 * @return enum return.
 */
extern int setGNSS( bool status );

/**
 * @brief Get GNSS Status
 *
 * @param[out] satellites Number of satellites vehicles seen by modem on fix attempt.
 * 
 * @return Fix. Fix >= 2, the fixed obtained
 */
extern uint8_t statusGNSS( uint8_t *satellites );

/**
 * @brief Function to open cellular connection on modem
 *
 * @param[in] endpointAddr Address to server
 * @param[in] gtpStatus Bool to let cell library know if gtp location should be attempted
 * 
 * @return enum return.
 */
extern int connectCell( uint8_t *endpointAddr, bool gtpStatus );

/**
 * @brief Function to close cellular connection on modem
 *
 * @param[in] sleepMode Sleep mode in between data transmissions.
 * 
 * @return N/A.
 */
extern void closeCell( uint8_t sleepMode );

/**
 * @brief Function to send/receive data over HTTP
 *
 * @param[in] method POST or GET
 * @param[in] endpointAddr Address to server
 * @param[in] pathPrefix Prefix of server path
 * @param[in] pathSuffix Suffix of server path (entire path if tokenInPath equals false)
 * @param[in] tokenInPath Access token in path (true) or not (false)
 * @param[out] fotaAvailable Bool return for if FOTA is available on server
 * 
 * @return enum return.
 */
extern int sendHttpMsg(uint8_t method, uint8_t *endpointAddr, uint8_t *pathPrefix, uint8_t* pathSuffix, bool tokenInPath, bool *fotaAvailable);

/**
 * @brief Query cellular diagnostics
 *
 * @param[in] cellTransInt Interval to transmit cellular data.
 * 
 * @return enum return.
 */
extern int queryCellularDiag( cellDiag *params );

/**
 * @brief Function used powering up modem, configuring modem and connecting zephyr drivers
 *
 * @return enum return.
 */
extern int cellInit(void);

/**
 * @brief Cell libray callback to alert app that fix attained, app can add queue message if desired.
 *
 * @param[in] status Pass or fail fix attempt.
 * 
 * @return N/A.
 */
extern void addGnssQueueMsg( bool status );

/* *INDENT-OFF* */
#ifdef __cplusplus
    }
#endif
/* *INDENT-ON* */

#endif /* __CELL_HELPER_H__ */
```

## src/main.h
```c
/****************************************************************************                                                                     *
 * Copyright (c) 2026 Embedded Planet, Inc.                                 *
 * SPDX-License-Identifier: Apache-2.0                                      *
 *                                                                          *
 * Licensed under the Apache License, Version 2.0 (the "License");          *
 * you may not use this file except in compliance with the License.         *
 * You may obtain a copy of the License at                                  *
 *                                                                          *
 *     http://www.apache.org/licenses/LICENSE-2.0                           *
 *                                                                          *
 * Unless required by applicable law or agreed to in writing, software      *
 * distributed under the License is distributed on an "AS IS" BASIS,        *
 * WITHOUT WARRANTIES OR CONDITIONS OF ANY KIND, either express or implied. *
 * See the License for the specific language governing permissions and      *
 * limitations under the License.                                           *
 ****************************************************************************/
/**
 * @file    main.h
 * @version See Version in main.h VER defines
 * @author  Embedded Planet, Inc.
 * @author  golobmichael, danmaher
 * @date    20 AUG 2026
 * 
 * @brief Agora53 Standalone main header
 * 
 * Built for use with the nRF Connect SDK
 *
 * This source file is private and confidential.
 * Unauthorized copying of this file is strictly prohibited.
 * 
 * Version 1.0 - 20AUG2026  Initial
 */
#ifndef __MAIN_H__
#define __MAIN_H__

#include <stdlib.h>
#include <stdbool.h>

#include "cellularTask.h"

// Firmware version
#define VER_MAJOR   0
#define VER_MINOR   0
#define VER_PATCH   1

// Time between sensor sample cycles
#define SENSOR_SAMPLE_PERIOD_DEFAULT_MS  30000

// Enable a sensor by setting the corresponding define to 1
#define ICM20602_ACTIVE 1
#define HTU21D_ACTIVE 1
#define VL53L0X_ACTIVE 1
#define BME680_ACTIVE 1

#define INF_BLU_LED DT_NODELABEL(led2)
#define INF_RED_LED DT_NODELABEL(led1)
#define INF_GRN_LED DT_NODELABEL(led0)
#define INF_BAT_MON_EN DT_NODELABEL(bat_mon_en)
#define INF_BOARD_ID_EN DT_NODELABEL(board_id_en)
#define CELL_PWR_EN DT_NODELABEL(cell_pwr_en)
#define CELL_PWR_ON_OFF DT_NODELABEL(cell_on_off)
#define SENSOR_PWR_ENABLE DT_NODELABEL(sensor_pwr_en)
extern const struct gpio_dt_spec led_2;
extern const struct gpio_dt_spec led_1;
extern const struct gpio_dt_spec led_0;
extern const struct gpio_dt_spec gpio_bat_mon_en;
extern const struct gpio_dt_spec board_id_enable;
extern const struct gpio_dt_spec gpio_cell_pwr_en;
extern const struct gpio_dt_spec gpio_cell_on_off;
extern const struct gpio_dt_spec sens_pwr_en;

void miscInitialization( void );

//////////////////////////////////////////////////
/****                                        ****/
/****               CELLULAR                 ****/
/****                                        ****/
//////////////////////////////////////////////////

/**< Used to activate/deactivate cellular in the main application
 * 
 *   0 = Deactivated
 *   1 = Activated
 */
#define CELLULAR_ACTIVE     1

/* GPS status, true or false */
#define TELIT_GNSS_STATUS                    true

/* GPS fix timout in 10s of seconds */
#define GNSS_TIMEOUT                  18

/* GNSS interval for attempting fix in seconds */
#define GNSS_ATTEMPT_INTERVAL     3600U

/* Low satellite timeout status */
#define LOW_SAT_STATUS          true

/* Low satellite timeout threshold in 10s of seconds */
#define LOW_SAT_TIMEOUT         30

/* Low satellite num of satellite threshold */
#define LOW_SAT_NUMBER          3

/* Cellular transmission interval in seconds */
#define MIN_TRANS_INTERVAL    600U

/* Cellular queue size for transmissions */
#define CELL_QUEUE_SIZE                     7

/* Modem sleep state */
#define MODEM_SLEEP_STATE   MODEM_OFF

/* Enable GTP Location Functional */
#define GTP_STATUS          false

/* Select option for server, uncomment one of the following. Contact EP for additional options */
#define THINGSBOARD_HTTP_INTEGRATION    // Send to ThingsBoard HTPP Integration server

/* Both addresses below must be the same protocol for now */
/* Currently HTTP supported for POST */
/* If different endpoint location is required, contact EP for guidance */
#ifdef THINGSBOARD_HTTP_INTEGRATION
    #define IOT_BROKER_ADDRESS_POST "http://thingsboard.cloud:80"
#endif

/* Currently HTTP supported for GET */
#ifdef THINGSBOARD_HTTP_INTEGRATION
    #define IOT_BROKER_ADDRESS_GET "http://thingsboard.cloud:80"
#endif

/**
 * @brief Server path includes access token for post or get. Access token in post is also used for signifying if access token is in MQTT topic
 */
#ifdef THINGSBOARD_HTTP_INTEGRATION
    #define SERVER_PATH_ACCESS_TOKEN_POST_ENABLED   0
    #define SERVER_PATH_ACCESS_TOKEN_GET_ENABLED    1
#endif


/**
 * @brief Server Address Path Prefix for POST or sending data to server on HTTP and CoAP. Use as topic prefix for MQTT
 */
#ifdef THINGSBOARD_HTTP_INTEGRATION
    #define SERVER_ADDR_PREFIX_POST    "/api/v1/"
#endif


/**
 * @brief Server Address Path Prefix for GET or getting data from server. Used for HTTP and CoAP, ignored for MQTT
 */
#ifdef THINGSBOARD_HTTP_INTEGRATION
    #define SERVER_ADDR_PREFIX_GET    "/api/v1/"
#endif

/**
 * @brief Server Address for sending Telemetry Path Suffix. If SERVER_PATH_ACCESS_TOKEN_POST_ENABLED is equal to 0, 
 *        then the complete address for sending data to the cloud is IOT_BROKER_ADDRESS_POST+SERVER_ADDR_SUFFIX_TELE.
 *        If SERVER_PATH_ACCESS_TOKEN_POST_ENABLED is equal to 1, then the complete address is 
 *        IOT_BROKER_ADDRESS_POST+SERVER_ADDR_PREFIX_POST+IMEI+SERVER_ADDR_SUFFIX_TELE.
 *        Only used for CoAP and HTTP. Value ignored for MQTT.
 */
#ifdef THINGSBOARD_HTTP_INTEGRATION
    #define SERVER_ADDR_SUFFIX_TELE "/api/v1/integrations/http/6accb121-2cb5-787b-c645-2f5021538a25"
#endif

/**
 * @brief Server Address Attribute Path Suffix. Used for ThingsBoard HTTP GET or getting data from server. Value ignored for MQTT.
 */
#ifdef THINGSBOARD_HTTP_INTEGRATION
    #define SERVER_ADDR_SUFFIX_ATTR    "/attributes"
#endif


/**
 * @brief Server Address FOTA Path Suffix. Used for ThingsBoard HTTP. Value ignored if not using HTTP.
 */
#ifdef THINGSBOARD_HTTP_INTEGRATION
    #define SERVER_ADDR_SUFFIX_FOTA    "/firmware?"
#endif

/* Flag for signaling new data has been added to cell queue */
extern bool newDataAdded;
extern void cellular_task(void);
extern void sensor_task(void);
extern void LEDTask(void);

#endif
```
